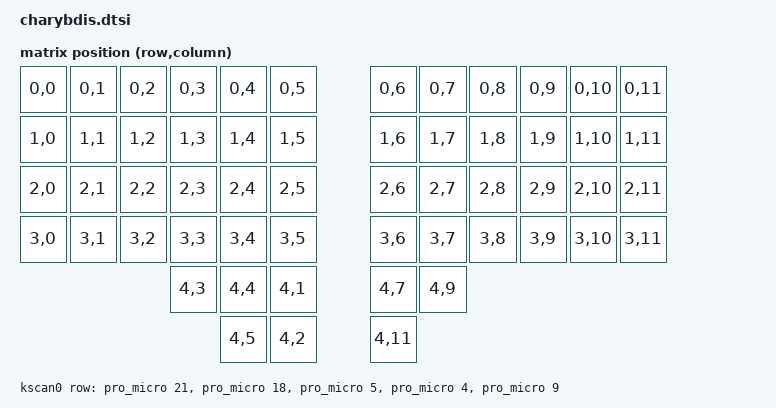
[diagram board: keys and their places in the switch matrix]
#include <dt-bindings/zmk/matrix_transform.h>
#include <dt-bindings/led/led.h>

// backlight
//&pinctrl {
//    // Other pinctrl definitions for other hardware
//    pwm3_default: pwm3_default {
//        group1 {
//            psels = <NRF_PSEL(PWM_OUT3,0, 6)>;
//        };
//    };
//    pwm3_sleep: pwm3_sleep {
//        group1 {
//            psels = <NRF_PSEL(PWM_OUT3, 0, 6)>;
//            low-power-enable;
//        };
//    };
//};
//&pwm3 {
//    status = "okay";
//    pinctrl-0 = <&pwm3_default>;
//    pinctrl-1 = <&pwm3_sleep>;
//    pinctrl-names = "default", "sleep";
//};


zephyr_udc0: &usbd {
    status = "okay";
};

//underglow
&pinctrl {
    spi3_default: spi3_default {
        group1 {
            psels = <NRF_PSEL(SPIM_MOSI, 0, 6)>;
        };
    };

    spi3_sleep: spi3_sleep {
        group1 {
            psels = <NRF_PSEL(SPIM_MOSI, 0, 6)>;
            low-power-enable;
        };
    };
};
&spi3 {
  compatible = "nordic,nrf-spim";
  status = "okay";

  pinctrl-0 = <&spi3_default>;
  pinctrl-1 = <&spi3_sleep>;
  pinctrl-names = "default", "sleep";

  led_strip: ws2812@0 {
    compatible = "worldsemi,ws2812-spi";

    /* SPI */
    reg = <0>; /* ignored, but necessary for SPI bindings */
    spi-max-frequency = <4000000>;

    /* WS2812 */
    chain-length = <30>; /* number of LEDs */
    spi-one-frame = <0x70>;
    spi-zero-frame = <0x40>;
    color-mapping = <LED_COLOR_ID_GREEN
                          LED_COLOR_ID_RED
                          LED_COLOR_ID_BLUE>;
  };
};

/ {
    chosen {
        zmk,kscan = &kscan0;
        zmk,matrix_transform = &default_transform;
         zmk,underglow = &led_strip;
//        zmk,backlight = &backlight;
    };

//    backlight: pwmleds {
//        compatible = "pwm-leds";
//        pwm_led_3 {
//            pwms = <&pwm3 0 PWM_MSEC(10) PWM_POLARITY_NORMAL>;
//        };
//    };

    vbatt: vbatt {
	compatible = "zmk,battery-nrf-vddh";
    };
          
    default_transform: keymap_transform_0 {
        compatible = "zmk,matrix-transform";
        columns = <12>;
        rows = <5>;

        map = <
    RC(0,0) RC(0,1) RC(0,2) RC(0,3) RC(0,4) RC(0,5)         RC(0,6)  RC(0,7) RC(0,8) RC(0,9) RC(0,10) RC(0,11)
    RC(1,0) RC(1,1) RC(1,2) RC(1,3) RC(1,4) RC(1,5)         RC(1,6)  RC(1,7) RC(1,8) RC(1,9) RC(1,10) RC(1,11)
    RC(2,0) RC(2,1) RC(2,2) RC(2,3) RC(2,4) RC(2,5)         RC(2,6)  RC(2,7) RC(2,8) RC(2,9) RC(2,10) RC(2,11)
    RC(3,0) RC(3,1) RC(3,2) RC(3,3) RC(3,4) RC(3,5)         RC(3,6)  RC(3,7) RC(3,8) RC(3,9) RC(3,10) RC(3,11)
                          RC(4,3) RC(4,4)   RC(4,1)         RC(4,7)  RC(4,9)
                                  RC(4,5)   RC(4,2)         RC(4,11)                                          
        >;
    };
    kscan0: kscan {
        compatible = "zmk,kscan-gpio-matrix";
        label = "KSCAN";

        diode-direction = "row2col";
		row-gpios
			= <&pro_micro 21 GPIO_ACTIVE_HIGH>
			, <&pro_micro 18 GPIO_ACTIVE_HIGH>
			, <&pro_micro 5 GPIO_ACTIVE_HIGH>
			, <&pro_micro 4 GPIO_ACTIVE_HIGH>
			, <&pro_micro 9 GPIO_ACTIVE_HIGH>
            ;
    };
};
